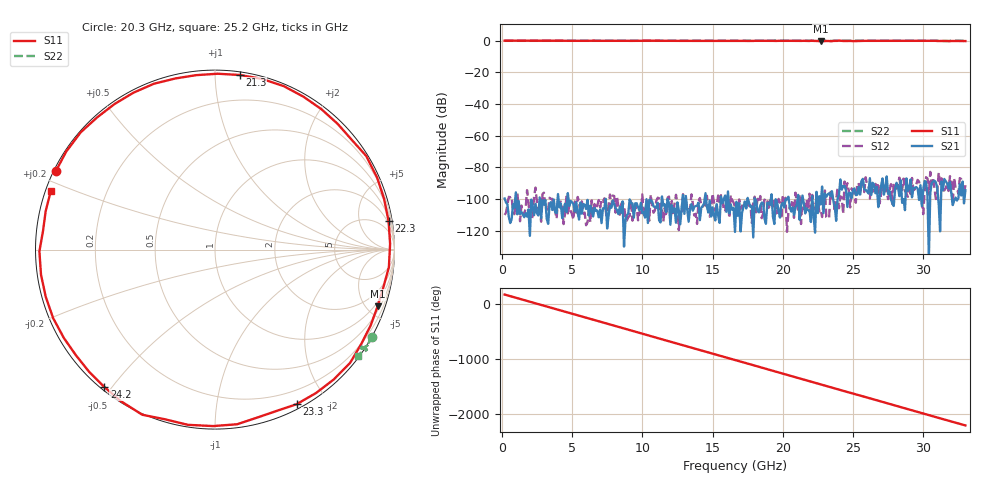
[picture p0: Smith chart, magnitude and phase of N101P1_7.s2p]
# GHZ S RI R 50
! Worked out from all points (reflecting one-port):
!   329 points, 200 MHz to 33 GHz, reference 50 ohm
!   lowest |S11| = -0.4 dB at 22.7 GHz (marker M1), VSWR 48.31, Z = 36.6 - j291 ohm
!   phase of S11 starts at 165 deg and turns -2368 deg over the sweep
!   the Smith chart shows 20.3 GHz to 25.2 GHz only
!   S11 on the Smith chart (normalised r, x): 20.3 GHz: 0.01, +0.23; 21.3 GHz: 0.02, +1.15; 22.3 GHz: 2, +12; 23.3 GHz: 0.05, -1.66; 24.2 GHz: 0.01, -0.48; 25.2 GHz: 0.01, +0.17
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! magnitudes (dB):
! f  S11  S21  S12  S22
! 200 MHz  0.0  -99.7  -110.2  0.0
! 5.7 GHz  -0.1  -109.2  -101.6  0.0
! 11.2 GHz  -0.1  -113.6  -99.7  0.0
! 16.6 GHz  -0.1  -120.9  -104.9  0.0
! 20.3 GHz  -0.1  -100.3  -120.9  0.0
! 21.3 GHz  -0.2  -104.1  -115.9  0.0
! 22.1 GHz  -0.1  -98.1  -97.5  0.0
! 22.3 GHz  -0.2  -121.3  -105.9  0.0
! 22.7 GHz  -0.4  -103.5  -106.8  -0.2
! 23 GHz  -0.2  -96.6  -94.7  0.0
! 23.3 GHz  -0.2  -96.5  -112.0  -0.1
! 23.5 GHz  -0.3  -95.1  -99.6  -0.2
! 23.9 GHz  -0.1  -100.1  -92.9  -0.1
! 24 GHz  0.0  -97.3  -106.0  0.1
! 24.2 GHz  -0.2  -94.1  -99.0  0.0
! 25.2 GHz  -0.3  -97.6  -102.5  -0.1
! 25.6 GHz  -0.1  -88.9  -89.8  -0.1
! 27.6 GHz  -0.1  -95.1  -94.8  0.0
! 31.1 GHz  -0.2  -103.0  -83.3  0.0
! 31.8 GHz  -0.3  -93.5  -95.0  -0.2
! 32 GHz  -0.2  -96.6  -88.4  0.0
! 33 GHz  -0.3  -94.5  -91.3  -0.1
